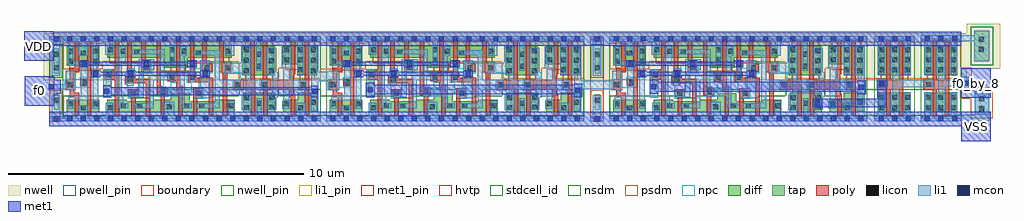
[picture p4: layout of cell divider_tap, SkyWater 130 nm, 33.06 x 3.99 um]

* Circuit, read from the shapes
.subckt divider_tap VDD VSS f0 f0_by_8
XM1 VSS f0 n1 VSS sky130_fd_pr__nfet_01v8 w=0.42 l=0.15
XM2 n2 n1 VSS VSS sky130_fd_pr__nfet_01v8 w=0.42 l=0.15
XM3 n3 sky130_fd_sc_hd__dfxbp_1#0_3/CLK VSS VSS sky130_fd_pr__nfet_01v8 w=0.42 l=0.15
XM4 n4 n1 n3 VSS sky130_fd_pr__nfet_01v8 w=0.36 l=0.15
XM5 n5 n2 n4 VSS sky130_fd_pr__nfet_01v8 w=0.36 l=0.15
XM6 VSS n6 n5 VSS sky130_fd_pr__nfet_01v8 w=0.42 l=0.15
XM7 n6 n4 VSS VSS sky130_fd_pr__nfet_01v8 w=0.64 l=0.15
XM8 n7 n2 n6 VSS sky130_fd_pr__nfet_01v8 w=0.36 l=0.15
XM9 n8 n1 n7 VSS sky130_fd_pr__nfet_01v8 w=0.36 l=0.15
XM10 VSS n9 n8 VSS sky130_fd_pr__nfet_01v8 w=0.42 l=0.15
XM11 VSS n7 n9 VSS sky130_fd_pr__nfet_01v8 w=0.65 l=0.15
XM12 sky130_fd_sc_hd__dfxbp_1#0_4/Q n9 VSS VSS sky130_fd_pr__nfet_01v8 w=0.65 l=0.15
XM13 VSS n9 n10 VSS sky130_fd_pr__nfet_01v8 w=0.42 l=0.15
XM14 sky130_fd_sc_hd__dfxbp_1#0_3/CLK n10 VSS VSS sky130_fd_pr__nfet_01v8 w=0.65 l=0.15
XM15 VSS sky130_fd_sc_hd__dfxbp_1#0_3/CLK n11 VSS sky130_fd_pr__nfet_01v8 w=0.42 l=0.15
XM16 n12 n11 VSS VSS sky130_fd_pr__nfet_01v8 w=0.42 l=0.15
XM17 n13 sky130_fd_sc_hd__dfxbp_1#0_2/CLK VSS VSS sky130_fd_pr__nfet_01v8 w=0.42 l=0.15
XM18 n14 n11 n13 VSS sky130_fd_pr__nfet_01v8 w=0.36 l=0.15
XM19 n15 n12 n14 VSS sky130_fd_pr__nfet_01v8 w=0.36 l=0.15
XM20 VSS n16 n15 VSS sky130_fd_pr__nfet_01v8 w=0.42 l=0.15
XM21 n16 n14 VSS VSS sky130_fd_pr__nfet_01v8 w=0.64 l=0.15
XM22 n17 n12 n16 VSS sky130_fd_pr__nfet_01v8 w=0.36 l=0.15
XM23 n18 n11 n17 VSS sky130_fd_pr__nfet_01v8 w=0.36 l=0.15
XM24 VSS n19 n18 VSS sky130_fd_pr__nfet_01v8 w=0.42 l=0.15
XM25 VSS n17 n19 VSS sky130_fd_pr__nfet_01v8 w=0.65 l=0.15
XM26 sky130_fd_sc_hd__dfxbp_1#0_3/Q n19 VSS VSS sky130_fd_pr__nfet_01v8 w=0.65 l=0.15
XM27 VSS n19 n20 VSS sky130_fd_pr__nfet_01v8 w=0.42 l=0.15
XM28 sky130_fd_sc_hd__dfxbp_1#0_2/CLK n20 VSS VSS sky130_fd_pr__nfet_01v8 w=0.65 l=0.15
XM29 VSS sky130_fd_sc_hd__dfxbp_1#0_2/CLK n21 VSS sky130_fd_pr__nfet_01v8 w=0.42 l=0.15
XM30 n22 n21 VSS VSS sky130_fd_pr__nfet_01v8 w=0.42 l=0.15
XM31 n23 sky130_fd_sc_hd__dfxbp_1#0_2/D VSS VSS sky130_fd_pr__nfet_01v8 w=0.42 l=0.15
XM32 n24 n21 n23 VSS sky130_fd_pr__nfet_01v8 w=0.36 l=0.15
XM33 n25 n22 n24 VSS sky130_fd_pr__nfet_01v8 w=0.36 l=0.15
XM34 VSS n26 n25 VSS sky130_fd_pr__nfet_01v8 w=0.42 l=0.15
XM35 n26 n24 VSS VSS sky130_fd_pr__nfet_01v8 w=0.64 l=0.15
XM36 n27 n22 n26 VSS sky130_fd_pr__nfet_01v8 w=0.36 l=0.15
XM37 n28 n21 n27 VSS sky130_fd_pr__nfet_01v8 w=0.36 l=0.15
XM38 VSS n29 n28 VSS sky130_fd_pr__nfet_01v8 w=0.42 l=0.15
XM39 VSS n27 n29 VSS sky130_fd_pr__nfet_01v8 w=0.65 l=0.15
XM40 sky130_fd_sc_hd__inv_2_1/A n29 VSS VSS sky130_fd_pr__nfet_01v8 w=0.65 l=0.15
XM41 VSS n29 n30 VSS sky130_fd_pr__nfet_01v8 w=0.42 l=0.15
XM42 sky130_fd_sc_hd__dfxbp_1#0_2/D n30 VSS VSS sky130_fd_pr__nfet_01v8 w=0.65 l=0.15
XM43 sky130_fd_sc_hd__inv_2_0/A sky130_fd_sc_hd__inv_2_1/A VSS VSS sky130_fd_pr__nfet_01v8 w=0.65 l=0.15 m=2
XM44 f0_by_8 sky130_fd_sc_hd__inv_2_0/A VSS VSS sky130_fd_pr__nfet_01v8 w=0.65 l=0.15 m=2
XM45 VDD f0 n1 VDD sky130_fd_pr__pfet_01v8_hvt w=0.64 l=0.15
XM46 n2 n1 VDD VDD sky130_fd_pr__pfet_01v8_hvt w=0.64 l=0.15
XM47 n3 sky130_fd_sc_hd__dfxbp_1#0_3/CLK VDD VDD sky130_fd_pr__pfet_01v8_hvt w=0.42 l=0.15
XM48 n4 n2 n3 VDD sky130_fd_pr__pfet_01v8_hvt w=0.42 l=0.15
XM49 n31 n1 n4 VDD sky130_fd_pr__pfet_01v8_hvt w=0.42 l=0.15
XM50 VDD n6 n31 VDD sky130_fd_pr__pfet_01v8_hvt w=0.42 l=0.15
XM51 n6 n4 VDD VDD sky130_fd_pr__pfet_01v8_hvt w=0.75 l=0.15
XM52 n7 n1 n6 VDD sky130_fd_pr__pfet_01v8_hvt w=0.42 l=0.15
XM53 n32 n2 n7 VDD sky130_fd_pr__pfet_01v8_hvt w=0.42 l=0.15
XM54 VDD n9 n32 VDD sky130_fd_pr__pfet_01v8_hvt w=0.42 l=0.15
XM55 VDD n7 n9 VDD sky130_fd_pr__pfet_01v8_hvt w=1 l=0.15
XM56 sky130_fd_sc_hd__dfxbp_1#0_4/Q n9 VDD VDD sky130_fd_pr__pfet_01v8_hvt w=1 l=0.15
XM57 VDD n9 n10 VDD sky130_fd_pr__pfet_01v8_hvt w=0.64 l=0.15
XM58 sky130_fd_sc_hd__dfxbp_1#0_3/CLK n10 VDD VDD sky130_fd_pr__pfet_01v8_hvt w=1 l=0.15
XM59 VDD sky130_fd_sc_hd__dfxbp_1#0_3/CLK n11 VDD sky130_fd_pr__pfet_01v8_hvt w=0.64 l=0.15
XM60 n12 n11 VDD VDD sky130_fd_pr__pfet_01v8_hvt w=0.64 l=0.15
XM61 n13 sky130_fd_sc_hd__dfxbp_1#0_2/CLK VDD VDD sky130_fd_pr__pfet_01v8_hvt w=0.42 l=0.15
XM62 n14 n12 n13 VDD sky130_fd_pr__pfet_01v8_hvt w=0.42 l=0.15
XM63 n33 n11 n14 VDD sky130_fd_pr__pfet_01v8_hvt w=0.42 l=0.15
XM64 VDD n16 n33 VDD sky130_fd_pr__pfet_01v8_hvt w=0.42 l=0.15
XM65 n16 n14 VDD VDD sky130_fd_pr__pfet_01v8_hvt w=0.75 l=0.15
XM66 n17 n11 n16 VDD sky130_fd_pr__pfet_01v8_hvt w=0.42 l=0.15
XM67 n34 n12 n17 VDD sky130_fd_pr__pfet_01v8_hvt w=0.42 l=0.15
XM68 VDD n19 n34 VDD sky130_fd_pr__pfet_01v8_hvt w=0.42 l=0.15
XM69 VDD n17 n19 VDD sky130_fd_pr__pfet_01v8_hvt w=1 l=0.15
XM70 sky130_fd_sc_hd__dfxbp_1#0_3/Q n19 VDD VDD sky130_fd_pr__pfet_01v8_hvt w=1 l=0.15
XM71 VDD n19 n20 VDD sky130_fd_pr__pfet_01v8_hvt w=0.64 l=0.15
XM72 sky130_fd_sc_hd__dfxbp_1#0_2/CLK n20 VDD VDD sky130_fd_pr__pfet_01v8_hvt w=1 l=0.15
XM73 VDD sky130_fd_sc_hd__dfxbp_1#0_2/CLK n21 VDD sky130_fd_pr__pfet_01v8_hvt w=0.64 l=0.15
XM74 n22 n21 VDD VDD sky130_fd_pr__pfet_01v8_hvt w=0.64 l=0.15
XM75 n23 sky130_fd_sc_hd__dfxbp_1#0_2/D VDD VDD sky130_fd_pr__pfet_01v8_hvt w=0.42 l=0.15
XM76 n24 n22 n23 VDD sky130_fd_pr__pfet_01v8_hvt w=0.42 l=0.15
XM77 n35 n21 n24 VDD sky130_fd_pr__pfet_01v8_hvt w=0.42 l=0.15
XM78 VDD n26 n35 VDD sky130_fd_pr__pfet_01v8_hvt w=0.42 l=0.15
XM79 n26 n24 VDD VDD sky130_fd_pr__pfet_01v8_hvt w=0.75 l=0.15
XM80 n27 n21 n26 VDD sky130_fd_pr__pfet_01v8_hvt w=0.42 l=0.15
XM81 n36 n22 n27 VDD sky130_fd_pr__pfet_01v8_hvt w=0.42 l=0.15
XM82 VDD n29 n36 VDD sky130_fd_pr__pfet_01v8_hvt w=0.42 l=0.15
XM83 VDD n27 n29 VDD sky130_fd_pr__pfet_01v8_hvt w=1 l=0.15
XM84 sky130_fd_sc_hd__inv_2_1/A n29 VDD VDD sky130_fd_pr__pfet_01v8_hvt w=1 l=0.15
XM85 VDD n29 n30 VDD sky130_fd_pr__pfet_01v8_hvt w=0.64 l=0.15
XM86 sky130_fd_sc_hd__dfxbp_1#0_2/D n30 VDD VDD sky130_fd_pr__pfet_01v8_hvt w=1 l=0.15
XM87 sky130_fd_sc_hd__inv_2_0/A sky130_fd_sc_hd__inv_2_1/A VDD VDD sky130_fd_pr__pfet_01v8_hvt w=1 l=0.15 m=2
XM88 f0_by_8 sky130_fd_sc_hd__inv_2_0/A VDD VDD sky130_fd_pr__pfet_01v8_hvt w=1 l=0.15 m=2
.ends

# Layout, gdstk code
import gdstk
lib = gdstk.Library(unit=1e-6, precision=1e-09)
def R(c, l, rs):  # rectangles x0, y0, x1, y1
    for r in rs: c.add(gdstk.rectangle(r[:2], r[2:], *l))
def A(c, l, x, y, w, h, nx, ny, dx, dy):  # array of equal rectangles
    R(c, l, [(x+i*dx, y+j*dy, x+i*dx+w, y+j*dy+h) for i in range(nx) for j in range(ny)])
nwell_pin = (64, 16)
nwell = (64, 20)
diff = (65, 20)
tap = (65, 44)
poly = (66, 20)
licon = (66, 44)
li1_pin = (67, 16)
li1 = (67, 20)
mcon = (67, 44)
met1_pin = (68, 16)
met1 = (68, 20)
hvtp = (78, 44)
stdcell_id = (81, 4)
nsdm = (93, 44)
psdm = (94, 20)
npc = (95, 20)
pwell_pin = (122, 16)
boundary = (235, 4)

sky130_fd_sc_hd__inv_2 = lib.new_cell('sky130_fd_sc_hd__inv_2')
R(sky130_fd_sc_hd__inv_2, nwell_pin, [(0.145,2.635,0.315,2.805)])
R(sky130_fd_sc_hd__inv_2, nwell, [(-0.19,1.305,1.57,2.91)])
R(sky130_fd_sc_hd__inv_2, diff, [(0.145,0.235,1.235,0.885), (0.145,1.485,1.235,2.485)])
R(sky130_fd_sc_hd__inv_2, poly, [(0.405,0.105,0.555,0.995), (0.825,0.105,0.975,0.995), (0.105,0.995,0.975,1.325), (0.405,1.325,0.555,2.615), (0.825,1.325,0.975,2.615)])
A(sky130_fd_sc_hd__inv_2, licon, 0.185, 0.295, 0.17, 0.17, 3, 2, 0.42, 0.36)
A(sky130_fd_sc_hd__inv_2, licon, 0.185, 1.575, 0.17, 0.17, 3, 3, 0.42, 0.34)
R(sky130_fd_sc_hd__inv_2, licon, [(0.185,1.075,0.355,1.245)])
A(sky130_fd_sc_hd__inv_2, li1_pin, 0.605, 0.765, 0.17, 0.17, 1, 3, 0, 0.34)
R(sky130_fd_sc_hd__inv_2, li1_pin, [(0.145,1.105,0.315,1.275)])
R(sky130_fd_sc_hd__inv_2, li1, [(0,-0.085,1.38,0.085), (0.125,0.085,0.355,0.905), (1.025,0.085,1.235,0.905), (0.525,0.255,0.855,0.885), (0.605,0.885,0.855,1.485), (0.105,1.075,0.435,1.325), (0.525,1.485,0.855,2.465), (0.125,1.495,0.355,2.635), (1.025,1.495,1.235,2.635), (0,2.635,1.38,2.805)])
A(sky130_fd_sc_hd__inv_2, mcon, 0.145, -0.085, 0.17, 0.17, 3, 2, 0.46, 2.72)
R(sky130_fd_sc_hd__inv_2, met1_pin, [(0.145,-0.085,0.315,0.085), (0.145,2.635,0.315,2.805)])
R(sky130_fd_sc_hd__inv_2, met1, [(0,-0.24,1.38,0.24), (0,2.48,1.38,2.96)])
R(sky130_fd_sc_hd__inv_2, hvtp, [(0.225,1.305,1.155,2.665)])
R(sky130_fd_sc_hd__inv_2, stdcell_id, [(0,0,1.38,2.72)])
R(sky130_fd_sc_hd__inv_2, nsdm, [(0.02,0.11,1.36,1.01)])
R(sky130_fd_sc_hd__inv_2, psdm, [(0.02,1.36,1.36,2.61)])
R(sky130_fd_sc_hd__inv_2, npc, [(0.085,0.975,0.455,1.345)])
R(sky130_fd_sc_hd__inv_2, pwell_pin, [(0.145,-0.085,0.315,0.085)])
R(sky130_fd_sc_hd__inv_2, boundary, [(0,0,1.38,2.72)])
sky130_fd_sc_hd__inv_2.add(gdstk.Label('VPWR', (0.23,2.72), layer=68, texttype=5))
sky130_fd_sc_hd__inv_2.add(gdstk.Label('VGND', (0.23,0), layer=68, texttype=5))
sky130_fd_sc_hd__inv_2.add(gdstk.Label('VNB', (0.23,0), layer=64, texttype=59))
sky130_fd_sc_hd__inv_2.add(gdstk.Label('VPB', (0.23,2.72), layer=64, texttype=5))
sky130_fd_sc_hd__inv_2.add(gdstk.Label('Y', (0.69,0.85), layer=67, texttype=5))
sky130_fd_sc_hd__inv_2.add(gdstk.Label('Y', (0.69,1.53), layer=67, texttype=5))
sky130_fd_sc_hd__inv_2.add(gdstk.Label('Y', (0.69,1.19), layer=67, texttype=5))
sky130_fd_sc_hd__inv_2.add(gdstk.Label('A', (0.23,1.19), layer=67, texttype=5))

sky130_fd_sc_hd__dfxbp_1 = lib.new_cell('sky130_fd_sc_hd__dfxbp_1#0')
R(sky130_fd_sc_hd__dfxbp_1, nwell_pin, [(0.145,2.635,0.315,2.805)])
R(sky130_fd_sc_hd__dfxbp_1, nwell, [(-0.19,1.305,8.93,2.91)])
R(sky130_fd_sc_hd__dfxbp_1, diff, [(0.135,0.235,1.225,0.655), (1.495,0.235,5.82,0.595), (6.1,0.235,7.19,0.885), (7.46,0.235,8.605,0.655), (1.495,0.595,2.155,0.655), (3.055,0.595,4.3,0.655), (5.16,0.595,5.82,0.655), (3.65,0.655,4.3,0.875), (7.945,0.655,8.605,0.885), (6.08,1.485,7.18,2.485), (7.935,1.485,8.605,1.845), (3.395,1.735,4.23,2.065), (0.135,1.815,1.225,2.455), (7.45,1.845,8.605,2.485), (1.495,2.065,5.71,2.485)])
R(sky130_fd_sc_hd__dfxbp_1, poly, [(0.395,0.105,0.545,0.73), (0.815,0.105,0.965,1.1), (1.755,0.105,1.905,1.335), (2.315,0.105,2.465,0.735), (2.81,0.105,2.96,1.215), (3.305,0.105,3.455,0.795), (3.9,0.105,4.05,0.95), (4.405,0.105,4.555,0.705), (4.935,0.105,5.085,1.245), (5.41,0.105,5.56,1.575), (6.36,0.105,6.51,0.995), (6.78,0.105,6.93,0.995), (7.72,0.105,7.87,0.73), (8.195,0.105,8.345,0.995), (4.405,0.705,4.725,1.035), (0.23,0.73,0.545,0.88), (7.665,0.73,7.87,0.85), (2.215,0.735,2.545,1.005), (3.17,0.795,3.54,1.065), (7.665,0.85,7.815,0.995), (0.23,0.88,0.38,0.995), (3.83,0.95,4.05,1.1), (0.11,0.995,0.38,1.325), (5.8,0.995,6.51,1.325), (6.72,0.995,7.815,1.325), (8.025,0.995,8.345,1.325), (3.17,1.065,3.32,2.615), (0.59,1.1,0.965,1.37), (3.83,1.1,3.98,1.275), (2.115,1.215,2.96,1.365), (4.24,1.245,5.085,1.395), (3.53,1.275,3.98,1.545), (0.23,1.325,0.38,1.59), (6.35,1.325,6.5,2.615), (6.77,1.325,6.92,2.615), (7.665,1.325,7.815,1.515), (8.195,1.325,8.345,2.615), (1.43,1.335,1.905,1.665), (2.115,1.365,2.445,1.485), (0.815,1.37,0.965,2.585), (4.24,1.395,4.51,1.575), (2.18,1.485,2.33,2.615), (7.665,1.515,7.86,1.665), (3.83,1.545,3.98,2.615), (2.655,1.575,2.96,1.905), (4.305,1.575,4.455,2.615), (5.295,1.575,5.7,1.905), (0.23,1.59,0.545,1.74), (4.72,1.605,5.05,1.875), (1.755,1.665,1.905,2.615), (7.71,1.665,7.86,2.615), (0.395,1.74,0.545,2.585), (4.725,1.875,4.875,2.615), (2.655,1.905,2.805,2.615), (5.295,1.905,5.445,2.615)])
A(sky130_fd_sc_hd__dfxbp_1, licon, 6.12, 1.545, 0.17, 0.17, 1, 3, 0, 0.355)
A(sky130_fd_sc_hd__dfxbp_1, licon, 6.97, 1.545, 0.17, 0.17, 1, 3, 0, 0.34)
A(sky130_fd_sc_hd__dfxbp_1, licon, 8.395, 1.545, 0.17, 0.17, 1, 3, 0, 0.355)
A(sky130_fd_sc_hd__dfxbp_1, licon, 7.975, 1.575, 0.17, 0.17, 1, 3, 0, 0.34)
R(sky130_fd_sc_hd__dfxbp_1, licon, [(0.595,0.295,0.765,0.465), (1.535,0.295,1.705,0.465), (7.975,0.295,8.145,0.465), (6.14,0.3,6.31,0.47), (6.98,0.31,7.15,0.48), (3.51,0.335,3.68,0.505), (1.96,0.365,2.13,0.535), (2.515,0.365,2.685,0.535), (4.105,0.365,4.275,0.535), (4.62,0.365,4.79,0.535), (5.61,0.365,5.78,0.535), (0.175,0.425,0.345,0.595), (1.015,0.425,1.185,0.595), (7.5,0.425,7.67,0.595), (6.56,0.445,6.73,0.615), (8.395,0.485,8.565,0.655), (6.14,0.64,6.31,0.81), (6.98,0.65,7.15,0.82), (2.295,0.785,2.465,0.955), (4.505,0.785,4.675,0.955), (3.29,0.845,3.46,1.015), (0.16,1.075,0.33,1.245), (5.85,1.075,6.02,1.245), (6.77,1.075,6.94,1.245), (8.075,1.075,8.245,1.245), (0.67,1.15,0.84,1.32), (2.195,1.265,2.365,1.435), (3.61,1.325,3.78,1.495), (4.29,1.325,4.46,1.495), (1.48,1.415,1.65,1.585), (2.74,1.655,2.91,1.825), (4.8,1.655,4.97,1.825), (5.48,1.655,5.65,1.825), (6.55,1.705,6.72,1.875), (0.175,1.875,0.345,2.045), (1.015,1.875,1.185,2.045), (3.61,1.915,3.78,2.085), (7.49,1.915,7.66,2.085), (6.55,2.105,6.72,2.275), (0.595,2.135,0.765,2.305), (4.505,2.165,4.675,2.335), (2.415,2.19,2.585,2.36), (0.175,2.215,0.345,2.385), (1.015,2.215,1.185,2.385), (1.955,2.215,2.125,2.385), (4.03,2.215,4.2,2.385), (5.5,2.215,5.67,2.385), (1.535,2.255,1.705,2.425), (3.61,2.255,3.78,2.425), (7.49,2.255,7.66,2.425)])
R(sky130_fd_sc_hd__dfxbp_1, li1_pin, [(6.95,0.425,7.12,0.595), (0.145,1.105,0.315,1.275), (1.445,1.105,1.615,1.275), (8.425,1.52,8.595,1.69)])
R(sky130_fd_sc_hd__dfxbp_1, li1, [(0,-0.085,8.74,0.085), (0.515,0.085,0.845,0.465), (1.455,0.085,1.705,0.545), (3.4,0.085,3.77,0.585), (5.585,0.085,5.795,0.615), (6.56,0.085,6.73,0.695), (7.905,0.085,8.225,0.545), (8.395,0.255,8.65,0.91), (6.06,0.3,6.39,0.825), (6.9,0.305,7.23,0.74), (0.175,0.345,0.345,0.635), (1.015,0.345,1.2,2.465), (7.42,0.345,7.67,0.615), (1.875,0.365,2.21,0.535), (2.405,0.365,3.08,0.535), (3.95,0.365,4.355,0.535), (4.525,0.365,5.31,0.535), (1.875,0.535,2.045,0.675), (2.91,0.535,3.08,1.315), (3.95,0.535,4.12,0.765), (5.14,0.535,5.31,0.995), (7.47,0.615,7.67,0.995), (0.175,0.635,0.84,0.805), (1.82,0.675,2.045,0.805), (4.505,0.705,4.97,1.035), (1.37,0.715,1.65,1.665), (2.215,0.735,2.74,0.955), (6.9,0.74,7.3,0.825), (3.29,0.765,4.12,1.065), (0.61,0.805,0.84,1.795), (1.82,0.805,1.99,1.91), (6.19,0.825,6.39,0.995), (7.055,0.825,7.3,0.865), (7.11,0.865,7.3,1.445), (8.415,0.91,8.65,1.48), (2.57,0.955,2.74,1.655), (0.09,0.975,0.44,1.625), (5.14,0.995,6.02,1.325), (6.19,0.995,6.94,1.325), (7.47,0.995,8.245,1.325), (4.65,1.035,4.97,1.995), (3.29,1.065,3.49,1.095), (3.95,1.065,4.12,2.135), (2.16,1.125,2.4,1.72), (3.61,1.245,3.78,1.315), (4.29,1.245,4.48,1.965), (2.91,1.315,3.78,1.485), (5.14,1.325,5.31,2.165), (6.19,1.325,6.38,1.53), (7.47,1.325,7.74,1.715), (7.065,1.445,7.3,1.495), (8.315,1.48,8.65,2.465), (3.27,1.485,3.78,1.575), (6.89,1.495,7.3,1.575), (7.93,1.495,8.145,2.635), (5.48,1.53,6.38,1.905), (3.27,1.575,3.44,2.19), (6.89,1.575,7.22,2.42), (6.55,1.625,6.72,2.635), (2.57,1.655,3.1,2.02), (7.41,1.715,7.74,2.445), (0.175,1.795,0.84,1.965), (3.61,1.835,3.78,2.635), (6.04,1.905,6.38,2.465), (1.82,1.91,2.125,2.04), (0.175,1.965,0.345,2.465), (1.875,2.04,2.125,2.465), (0.515,2.135,0.845,2.635), (3.95,2.135,4.2,2.465), (5.49,2.135,5.805,2.635), (4.425,2.165,5.31,2.335), (1.44,2.175,1.705,2.635), (2.335,2.19,3.44,2.36), (0,2.635,8.74,2.805)])
A(sky130_fd_sc_hd__dfxbp_1, mcon, 0.145, -0.085, 0.17, 0.17, 19, 2, 0.46, 2.72)
R(sky130_fd_sc_hd__dfxbp_1, mcon, [(1.025,1.445,1.195,1.615), (2.215,1.445,2.385,1.615), (4.735,1.445,4.905,1.615), (0.63,1.785,0.8,1.955), (2.73,1.785,2.9,1.955), (4.3,1.785,4.47,1.955)])
R(sky130_fd_sc_hd__dfxbp_1, met1_pin, [(0.145,-0.085,0.315,0.085), (0.145,2.635,0.315,2.805)])
R(sky130_fd_sc_hd__dfxbp_1, met1, [(0,-0.24,8.74,0.24), (0.965,1.415,1.255,1.46), (2.155,1.415,2.445,1.46), (4.675,1.415,4.965,1.46), (0.965,1.46,4.965,1.6), (0.965,1.6,1.255,1.645), (2.155,1.6,2.445,1.645), (4.675,1.6,4.965,1.645), (0.57,1.755,0.86,1.8), (2.67,1.755,2.96,1.8), (4.24,1.755,4.53,1.8), (0.57,1.8,4.53,1.94), (0.57,1.94,0.86,1.985), (2.67,1.94,2.96,1.985), (4.24,1.94,4.53,1.985), (0,2.48,8.74,2.96)])
R(sky130_fd_sc_hd__dfxbp_1, hvtp, [(6.17,1.305,7.1,2.665), (8.015,1.305,8.525,1.665), (3.65,1.555,4.16,1.885), (0.215,1.635,1.145,2.635), (7.53,1.665,8.525,2.665), (1.575,1.885,5.625,2.665)])
R(sky130_fd_sc_hd__dfxbp_1, stdcell_id, [(0,0,8.74,2.72)])
R(sky130_fd_sc_hd__dfxbp_1, nsdm, [(0.01,0.11,8.73,0.72), (0.01,0.72,2.28,0.78), (2.93,0.72,4.425,0.78), (5.035,0.72,8.73,0.78), (3.525,0.78,4.425,1), (5.975,0.78,7.315,1.01), (7.82,0.78,8.73,1.01)])
R(sky130_fd_sc_hd__dfxbp_1, psdm, [(5.955,1.36,7.305,1.72), (7.81,1.36,8.73,1.72), (3.27,1.61,4.355,1.94), (0.01,1.69,1.35,1.94), (5.955,1.72,8.73,1.94), (0.01,1.94,8.73,2.58), (1.37,2.58,8.73,2.61)])
R(sky130_fd_sc_hd__dfxbp_1, npc, [(2.195,0.685,2.565,1.165), (4.405,0.685,4.775,0.885), (3.19,0.745,3.56,0.895), (4.345,0.885,4.775,1.055), (3.19,0.895,3.67,1.115), (0.06,0.975,0.43,1.05), (5.75,0.975,6.12,1.315), (6.67,0.975,7.04,1.345), (7.975,0.975,8.345,1.345), (0.06,1.05,0.94,1.345), (4.345,1.055,4.62,1.225), (3.4,1.115,3.67,1.225), (2.095,1.165,2.565,1.265), (3.4,1.225,3.88,1.445), (4.19,1.225,4.62,1.44), (2.095,1.265,2.69,1.535), (1.38,1.315,1.75,1.685), (5.48,1.315,6.12,1.345), (0.57,1.345,0.94,1.42), (5.48,1.345,6.02,1.555), (4.19,1.44,4.925,1.555), (3.51,1.445,3.88,1.595), (2.415,1.535,2.69,1.555), (2.415,1.555,3.01,1.825), (4.19,1.555,5.07,1.595), (5.38,1.555,6.02,1.585), (5.38,1.585,5.75,1.925), (4.335,1.595,5.07,1.71), (4.7,1.71,5.07,1.925), (2.64,1.825,3.01,1.925)])
R(sky130_fd_sc_hd__dfxbp_1, pwell_pin, [(0.145,-0.085,0.315,0.085)])
R(sky130_fd_sc_hd__dfxbp_1, boundary, [(0,0,8.74,2.72)])
sky130_fd_sc_hd__dfxbp_1.add(gdstk.Label('VNB', (0.23,0), layer=64, texttype=59))
sky130_fd_sc_hd__dfxbp_1.add(gdstk.Label('VPB', (0.23,2.72), layer=64, texttype=5))
sky130_fd_sc_hd__dfxbp_1.add(gdstk.Label('VGND', (0.23,0), layer=68, texttype=5))
sky130_fd_sc_hd__dfxbp_1.add(gdstk.Label('VPWR', (0.23,2.72), layer=68, texttype=5))
sky130_fd_sc_hd__dfxbp_1.add(gdstk.Label('VNB', (0.23,0), layer=64, texttype=59))
sky130_fd_sc_hd__dfxbp_1.add(gdstk.Label('VPB', (0.23,2.72), layer=64, texttype=5))
sky130_fd_sc_hd__dfxbp_1.add(gdstk.Label('Q_N', (8.51,1.605), layer=67, texttype=5))
sky130_fd_sc_hd__dfxbp_1.add(gdstk.Label('Q', (7.035,0.51), layer=67, texttype=5))
sky130_fd_sc_hd__dfxbp_1.add(gdstk.Label('D', (1.53,1.19), layer=67, texttype=5))
sky130_fd_sc_hd__dfxbp_1.add(gdstk.Label('CLK', (0.23,1.19), layer=67, texttype=5))

sky130_fd_sc_hd__tapvpwr = lib.new_cell('sky130_fd_sc_hd__tapvpwrvgnd_1')
R(sky130_fd_sc_hd__tapvpwr, nwell, [(-0.19,1.305,0.65,2.91)])
R(sky130_fd_sc_hd__tapvpwr, tap, [(0.145,0.32,0.315,0.845), (0.145,1.525,0.315,2.4)])
R(sky130_fd_sc_hd__tapvpwr, licon, [(0.145,0.555,0.315,0.725), (0.145,1.645,0.315,1.815), (0.145,2.11,0.315,2.28)])
R(sky130_fd_sc_hd__tapvpwr, li1, [(0,-0.085,0.46,0.085), (0.085,0.085,0.375,0.81), (0.085,1.47,0.375,2.635), (0,2.635,0.46,2.805)])
R(sky130_fd_sc_hd__tapvpwr, mcon, [(0.145,-0.085,0.315,0.085), (0.145,2.635,0.315,2.805)])
R(sky130_fd_sc_hd__tapvpwr, met1_pin, [(0.105,-0.09,0.36,0.1), (0.11,2.62,0.375,2.765)])
R(sky130_fd_sc_hd__tapvpwr, met1, [(0,-0.24,0.46,0.24), (0,2.48,0.46,2.96)])
R(sky130_fd_sc_hd__tapvpwr, nsdm, [(0.02,1.4,0.44,2.525)])
R(sky130_fd_sc_hd__tapvpwr, psdm, [(0.02,0.195,0.44,0.97)])
R(sky130_fd_sc_hd__tapvpwr, boundary, [(0,0,0.46,2.72)])
sky130_fd_sc_hd__tapvpwr.add(gdstk.Label('VGND', (0.232,0.005), layer=68, texttype=5))
sky130_fd_sc_hd__tapvpwr.add(gdstk.Label('VPWR', (0.242,2.692), layer=68, texttype=5))

divider_tap = lib.new_cell('divider_tap')
R(divider_tap, nwell, [(29.93,4.7,31.05,6.23)])
R(divider_tap, tap, [(30.19,3.15,30.68,3.94), (30.18,4.95,30.69,5.99)])
R(divider_tap, licon, [(30.345,3.255,30.515,3.425), (30.345,3.595,30.515,3.765), (30.335,5.27,30.505,5.44), (30.335,5.61,30.505,5.78)])
R(divider_tap, li1, [(29.59,2.92,30.68,3.15), (30.19,3.15,30.68,3.94), (24.76,3.44,24.97,3.65), (7.74,3.8,7.93,4.07), (16.64,3.8,16.87,4.01), (0.7,3.81,0.89,4.08), (9.6,3.82,9.83,4.16), (26.24,3.9,26.47,4.24), (19.21,3.92,19.44,4.26), (29.76,3.98,30.01,4.11), (-1.18,4,-0.32,4.17), (16.64,4.01,17.95,4.14), (27.62,4.08,28.51,4.32), (26.96,4.1,27.13,4.27), (29.17,4.11,30.01,4.31), (16.85,4.14,17.95,4.29), (7.88,4.27,8.39,4.6), (29.76,4.31,30.01,4.43), (30.18,4.95,30.69,5.64), (29.72,5.64,30.69,5.78), (28.36,5.78,30.69,5.83), (30.18,5.83,30.69,5.99)])
R(divider_tap, mcon, [(24.78,3.46,24.95,3.63), (7.75,3.85,7.92,4.02), (0.71,3.86,0.88,4.03), (16.67,3.885,16.84,4.055), (9.63,3.905,9.8,4.075), (26.27,3.985,26.44,4.155), (-1.18,4,-1.01,4.17), (19.24,4.005,19.41,4.175), (26.96,4.1,27.13,4.27), (29.8,4.12,29.97,4.29)])
R(divider_tap, met1_pin, [(29.74,2.24,30.74,3.24), (-1.985,3.455,-0.985,4.455), (29.74,3.71,30.74,4.71), (-2.01,4.97,-1.01,5.97)])
R(divider_tap, met1, [(29.74,2.24,30.74,2.76), (0,2.76,30.74,3.24), (24.74,3.39,27.15,3.4), (24.74,3.4,27.19,3.41), (24.7,3.41,27.19,3.68), (-1.985,3.455,-0.985,3.785), (24.74,3.68,27.19,3.69), (26.9,3.69,27.19,4.3), (29.74,3.71,30.74,3.92), (7.71,3.74,7.96,3.8), (16.61,3.74,16.9,3.83), (0.67,3.75,0.92,3.8), (9.57,3.76,9.86,3.83), (-1.985,3.785,-0.975,3.855), (0.67,3.8,7.96,4.08), (9.57,3.83,16.9,4.16), (26.21,3.84,26.5,3.93), (-1.985,3.855,-0.765,4.325), (19.18,3.86,19.47,3.93), (29.73,3.92,30.74,4.49), (19.18,3.93,26.5,4.26), (0.67,4.08,0.92,4.14), (7.71,4.08,7.96,4.13), (9.57,4.16,9.86,4.22), (16.61,4.16,16.9,4.2), (19.18,4.26,19.47,4.32), (26.21,4.26,26.5,4.3), (-1.985,4.325,-0.975,4.385), (-1.985,4.385,-0.985,4.455), (29.74,4.49,30.74,4.71), (-2.01,4.97,-1.01,5.97), (0,5.48,29.74,5.96)])
R(divider_tap, nsdm, [(8.04,3.11,8.23,3.78), (26.55,3.11,26.81,4.01), (28.15,3.11,28.38,4.01), (30.055,4.825,30.815,6.115)])
R(divider_tap, psdm, [(30.065,3.025,30.805,3.685), (29.72,3.685,30.805,4.01), (29.7,4.01,30.805,4.065), (29.7,4.065,30.085,4.36), (26.55,4.36,26.81,5.61), (28.15,4.36,28.38,5.61), (29.72,4.36,30.085,4.74), (8.04,4.69,8.23,5.58)])
divider_tap.add(gdstk.Reference(sky130_fd_sc_hd__inv_2, (28.36,3)))
divider_tap.add(gdstk.Reference(sky130_fd_sc_hd__inv_2, (26.79,3)))
divider_tap.add(gdstk.Reference(sky130_fd_sc_hd__dfxbp_1, (17.82,3)))
divider_tap.add(gdstk.Reference(sky130_fd_sc_hd__dfxbp_1, (8.22,3)))
divider_tap.add(gdstk.Reference(sky130_fd_sc_hd__dfxbp_1, (-0.69,3)))
divider_tap.add(gdstk.Reference(sky130_fd_sc_hd__tapvpwr, (17.17,3)))
divider_tap.add(gdstk.Reference(sky130_fd_sc_hd__tapvpwr, (-1.15,3)))
divider_tap.add(gdstk.Label('f0', (-1.485,3.955), layer=68, texttype=5))
divider_tap.add(gdstk.Label('VDD', (-1.51,5.47), layer=68, texttype=5))
divider_tap.add(gdstk.Label('f0_by_8', (30.24,4.21), layer=68, texttype=5))
divider_tap.add(gdstk.Label('VSS', (30.24,2.74), layer=68, texttype=5))

lib.write_gds('divider_tap.gds')
